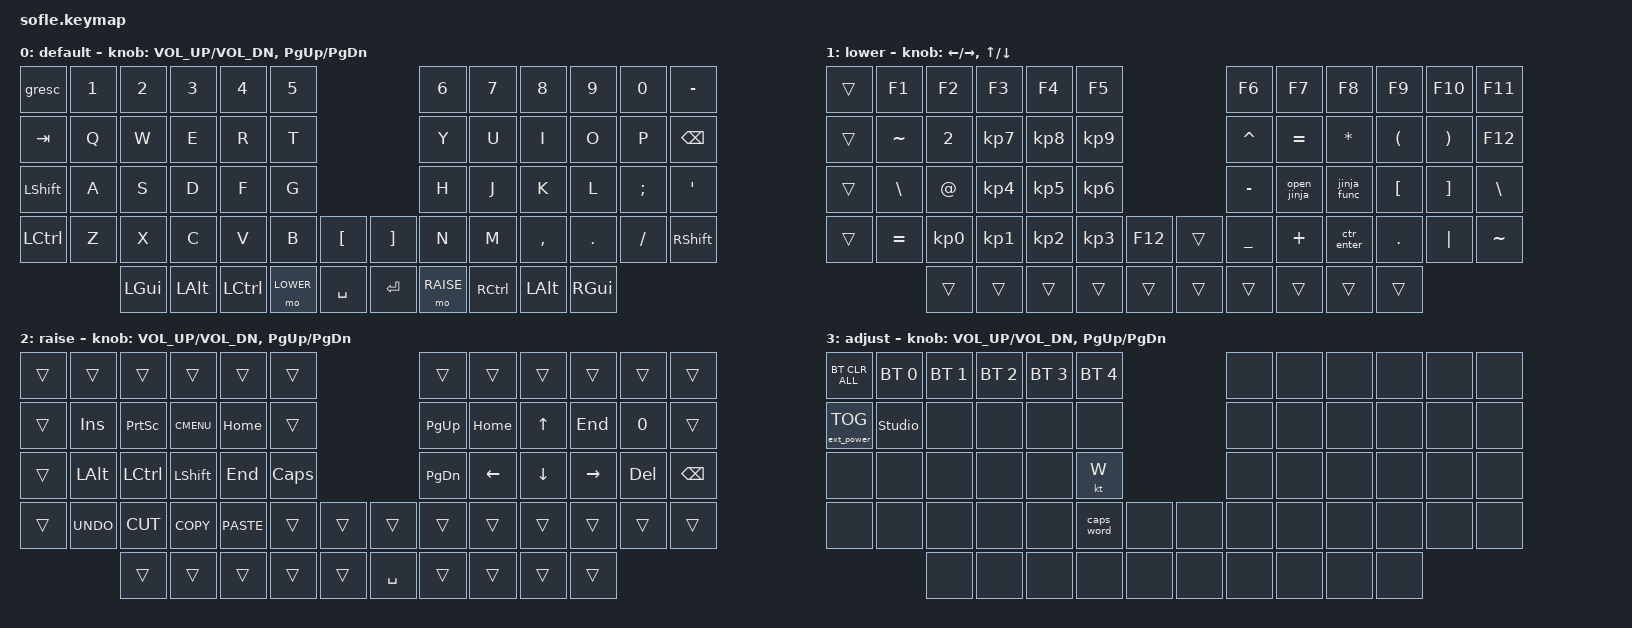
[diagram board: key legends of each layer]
/*
 * Copyright (c) 2020 The ZMK Contributors
 *
 * SPDX-License-Identifier: MIT
 */

#include <behaviors.dtsi>
#include <dt-bindings/zmk/bt.h>
#include <dt-bindings/zmk/ext_power.h>
#include <dt-bindings/zmk/keys.h>
#include <dt-bindings/zmk/keys.h>

#define BASE 0
#define LOWER 1
#define RAISE 2
#define ADJUST 3

/ {
    // Activate ADJUST layer by pressing raise and lower

    conditional_layers {
        compatible = "zmk,conditional-layers";

        adjust_layer {
            if-layers = <LOWER RAISE>;
            then-layer = <ADJUST>;
        };
    };

    combos {
        compatible = "zmk,combos";

        backspace {
            bindings = <&kp BACKSPACE>;
            key-positions = <32 31>;
        };

        esc {
            bindings = <&kp ESCAPE>;
            key-positions = <25 41>;
        };
    };

    behaviors {
        caps: caps {
            compatible = "zmk,behavior-caps-word";
            label = "CAPS";
            #binding-cells = <0>;
            continue-list = <POUND MINUS BACKSPACE UNDERSCORE>;
        };
    };

    macros {
        open_jinja: open_jinja {
            compatible = "zmk,behavior-macro";
            #binding-cells = <0>;
            bindings = <&kp LBRC &kp LBRC &kp SPACE>;
            label = "OPEN_JINJA";
        };

        jinja_func: jinja_func {
            compatible = "zmk,behavior-macro";
            #binding-cells = <0>;
            bindings = <&kp LBRC &kp PRCNT &kp SPACE>;
            label = "JINJA_FUNC";
        };

        ctr_enter: ctr_enter {
            compatible = "zmk,behavior-macro";
            #binding-cells = <0>;
            bindings = <&kp LC(ENTER)>;
            label = "CTR_ENTER";
        };
    };

    keymap {
        compatible = "zmk,keymap";

        default_layer {
            display-name = "default";

            // ------------------------------------------------------------------------------------------------------------
            // |   `   |  1  |  2  |  3   |  4   |  5   |                   |  6   |  7    |  8    |  9   |   0   |       |
            // |  ESC  |  Q  |  W  |  E   |  R   |  T   |                   |  Y   |  U    |  I    |  O   |   P   | BKSPC |
            // |  TAB  |  A  |  S  |  D   |  F   |  G   |                   |  H   |  J    |  K    |  L   |   ;   |   '   |
            // | SHIFT |  Z  |  X  |  C   |  V   |  B   |  MUTE  |  |       |  N   |  M    |  ,    |  .   |   /   | SHIFT |
            //               | GUI | ALT  | CTRL | LOWER|  ENTER |  | SPACE | RAISE| CTRL  | ALT   | GUI  |

            bindings = <
&gresc            &kp N1  &kp N2    &kp N3    &kp N4     &kp N5                             &kp N6     &kp N7     &kp N8     &kp N9    &kp N0    &kp MINUS
&kp TAB           &kp Q   &kp W     &kp E     &kp R      &kp T                              &kp Y      &kp U      &kp I      &kp O     &kp P     &kp BSPC
&kp LEFT_SHIFT    &kp A   &kp S     &kp D     &kp F      &kp G                              &kp H      &kp J      &kp K      &kp L     &kp SEMI  &kp SQT
&kp LEFT_CONTROL  &kp Z   &kp X     &kp C     &kp V      &kp B      &kp LBKT     &kp RBKT   &kp N      &kp M      &kp COMMA  &kp DOT   &kp FSLH  &kp RSHFT
                          &kp LGUI  &kp LALT  &kp LCTRL  &mo LOWER  &kp SPACE    &kp ENTER  &mo RAISE  &kp RCTRL  &kp LALT   &kp RGUI
            >;

            sensor-bindings = <&inc_dec_kp C_VOL_UP C_VOL_DN &inc_dec_kp PG_UP PG_DN>;
        };

        lower_layer {
            display-name = "lower";

            // TODO: Some binds are waiting for shifted keycode support.
            // ------------------------------------------------------------------------------------------------------------
            // |       |  F1 |  F2 |  F3  |  F4  |  F5  |                   |  F6  |  F7   |  F8   |  F9  |  F10  |  F11  |
            // |   `   |  1  |  2  |  3   |  4   |  5   |                   |  6   |  7    |  8    |  9   |   0   |  F12  |
            // |       |  !  |  @  |  #   |  $   |  %   |                   |  ^   |  &    |  *    |  (   |   )   |   |   |
            // |       |  =  |  -  |  +   |  {   |  }   |        |  |       |  [   |  ]    |  ;    |  :   |   \   |       |
            //               |     |      |      |      |        |  |       |      |       |       |      |

            bindings = <
&trans  &kp F1         &kp F2           &kp F3           &kp F4           &kp F5                              &kp F6          &kp F7       &kp F8       &kp F9                &kp F10                &kp F11
&trans  &kp TILDE      &kp N2           &kp KP_NUMBER_7  &kp KP_N8        &kp KP_N9                           &kp CARET       &kp EQUAL    &kp ASTRK    &kp LEFT_PARENTHESIS  &kp RIGHT_PARENTHESIS  &kp F12
&trans  &kp BACKSLASH  &kp AT           &kp KP_N4        &kp KP_N5        &kp KP_N6                           &kp MINUS       &open_jinja  &jinja_func  &kp LEFT_BRACKET      &kp RIGHT_BRACKET      &kp BSLH
&trans  &kp EQUAL      &kp KP_NUMBER_0  &kp KP_N1        &kp KP_NUMBER_2  &kp KP_NUMBER_3  &kp F12    &trans  &kp UNDERSCORE  &kp PLUS     &ctr_enter   &kp PERIOD            &kp PIPE               &kp TILDE
                       &trans           &trans           &trans           &trans           &trans     &trans  &trans          &trans       &trans       &trans
            >;

            sensor-bindings =
                <&inc_dec_kp LEFT_ARROW RIGHT_ARROW>,
                <&inc_dec_kp UP_ARROW DOWN_ARROW>;
        };

        raise_layer {
            display-name = "raise";

            // ------------------------------------------------------------------------------------------------------------
            // | BTCLR | BT1  | BT2  |  BT3  |  BT4  |  BT5 |                |      |      |       |      |       |       |
            // |       | INS  | PSCR | GUI   |       |      |                | PGUP |      |   ^   |      |       |       |
            // |       | ALT  | CTRL | SHIFT |       | CAPS |                | PGDN |   <- |   v   |  ->  |  DEL  | BKSPC |
            // |       | UNDO | CUT  | COPY  | PASTE |      |      |  |      |      |      |       |      |       |       |
            //                |      |       |       |      |      |  |      |      |      |       |      |

            bindings = <
&trans  &trans      &trans     &trans       &trans       &trans                         &trans     &trans    &trans    &trans     &trans   &trans
&trans  &kp INS     &kp PSCRN  &kp K_CMENU  &kp HOME     &trans                         &kp PG_UP  &kp HOME  &kp UP    &kp END    &kp N0   &trans
&trans  &kp LALT    &kp LCTRL  &kp LSHFT    &kp END      &kp CLCK                       &kp PG_DN  &kp LEFT  &kp DOWN  &kp RIGHT  &kp DEL  &kp BSPC
&trans  &kp K_UNDO  &kp K_CUT  &kp K_COPY   &kp K_PASTE  &trans    &trans    &trans     &trans     &trans    &trans    &trans     &trans   &trans
                    &trans     &trans       &trans       &trans    &trans    &kp SPACE  &trans     &trans    &trans    &trans
            >;

            sensor-bindings = <&inc_dec_kp C_VOL_UP C_VOL_DN &inc_dec_kp PG_UP PG_DN>;
        };

        adjust_layer {
            // ----------------------------------------------------------------------------------------------------------------------------
            // | BTCLR  |  BT1    |  BT2    |   BT3   |   BT4   |   BT5   |                  |      |      |       |      |       |       |
            // | EXTPWR | RGB_HUD | RGB_HUI | RGB_SAD | RGB_SAI | RGB_EFF |                  |      |      |       |      |       |       |
            // |        | RGB_BRD | RGB_BRI |         |         |         |                  |      |      |       |      |       |       |
            // |        |         |         |         |         |         | RGB_TOG | |      |      |      |       |      |       |       |
            //                    |         |         |         |         |         | |      |      |      |       |      |

            display-name = "adjust";
            bindings = <
&bt BT_CLR_ALL     &bt BT_SEL 0    &bt BT_SEL 1  &bt BT_SEL 2  &bt BT_SEL 3  &bt BT_SEL 4                  &none  &none  &none  &none  &none  &none
&ext_power EP_TOG  &studio_unlock  &none         &none         &none         &none                         &none  &none  &none  &none  &none  &none
&none              &none           &none         &none         &none         &kt W                         &none  &none  &none  &none  &none  &none
&none              &none           &none         &none         &none         &caps_word    &none    &none  &none  &none  &none  &none  &none  &none
                                   &none         &none         &none         &none         &none    &none  &none  &none  &none  &none
            >;

            sensor-bindings = <&inc_dec_kp C_VOL_UP C_VOL_DN &inc_dec_kp PG_UP PG_DN>;
        };
    };
};
